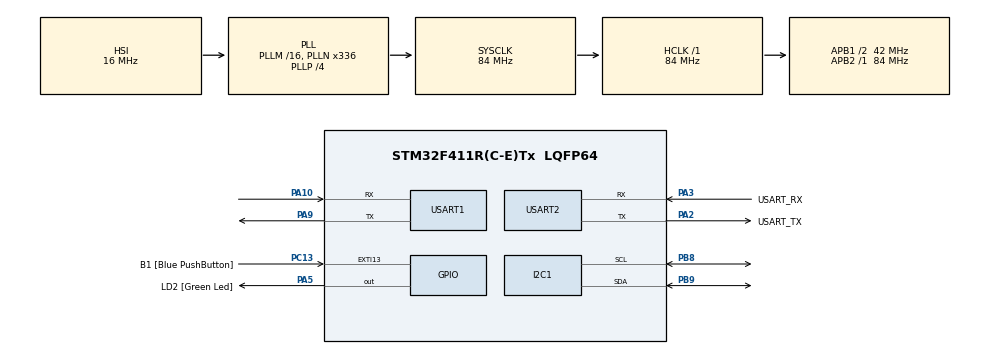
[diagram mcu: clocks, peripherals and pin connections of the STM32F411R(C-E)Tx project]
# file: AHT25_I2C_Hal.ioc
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Mcu.Family=STM32F4
Mcu.Name=STM32F411R(C-E)Tx
Mcu.Package=LQFP64
NVIC.I2C1_ER_IRQn=true\:0\:0\:false\:false\:true\:true\:true\:true
NVIC.I2C1_EV_IRQn=true\:0\:0\:false\:false\:true\:true\:true\:true
NVIC.PriorityGroup=NVIC_PRIORITYGROUP_0
PA10.Mode=Asynchronous
PA10.Signal=USART1_RX
PA13.GPIO_Label=TMS
PA13.Mode=Serial_Wire
PA13.Signal=SYS_JTMS-SWDIO
PA14.GPIO_Label=TCK
PA14.Mode=Serial_Wire
PA14.Signal=SYS_JTCK-SWCLK
PA2.GPIO_Label=USART_TX
PA2.Mode=Asynchronous
PA2.Signal=USART2_TX
PA3.GPIO_Label=USART_RX
PA3.Mode=Asynchronous
PA3.Signal=USART2_RX
PA5.GPIO_Label=LD2 [Green Led]
PA5.Signal=GPIO_Output
PA9.Mode=Asynchronous
PA9.Signal=USART1_TX
PB3.GPIO_Label=SWO
PB3.Signal=SYS_JTDO-SWO
PB8.Mode=I2C
PB8.Signal=I2C1_SCL
PB9.Mode=I2C
PB9.Signal=I2C1_SDA
PC13-ANTI_TAMP.GPIO_Label=B1 [Blue PushButton]
PC13-ANTI_TAMP.GPIO_ModeDefaultEXTI=GPIO_MODE_IT_FALLING
PC13-ANTI_TAMP.Signal=GPXTI13
PC14-OSC32_IN.Mode=LSE-External-Oscillator
PC14-OSC32_IN.Signal=RCC_OSC32_IN
PC15-OSC32_OUT.Mode=LSE-External-Oscillator
PC15-OSC32_OUT.Signal=RCC_OSC32_OUT
PH0\ -\ OSC_IN.Mode=HSE-External-Clock-Source
PH0\ -\ OSC_IN.Signal=RCC_OSC_IN
PH1\ -\ OSC_OUT.Mode=HSE-External-Clock-Source
PH1\ -\ OSC_OUT.Signal=RCC_OSC_OUT
ProjectManager.HeapSize=0x200
ProjectManager.StackSize=0x400
ProjectManager.TargetToolchain=STM32CubeIDE
RCC.48MHZClocksFreq_Value=84000000
RCC.AHBFreq_Value=84000000
RCC.APB1CLKDivider=RCC_HCLK_DIV2
RCC.APB1Freq_Value=42000000
RCC.APB1TimFreq_Value=84000000
RCC.APB2Freq_Value=84000000
RCC.APB2TimFreq_Value=84000000
RCC.CortexFreq_Value=84000000
RCC.FLatency-AdvancedSettings=FLASH_LATENCY_2
RCC.HCLKFreq_Value=84000000
RCC.HSE_VALUE=8000000
RCC.HSI_VALUE=16000000
RCC.PLLN=336
RCC.PLLP=RCC_PLLP_DIV4
RCC.SYSCLKFreq_VALUE=84000000
RCC.SYSCLKSource=RCC_SYSCLKSOURCE_PLLCLK
RCC.VCOOutputFreq_Value=336000000
USART1.VirtualMode=VM_ASYNC
USART2.VirtualMode=VM_ASYNC
board=NUCLEO-F411RE

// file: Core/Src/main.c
/* USER CODE BEGIN Header */
/**
  ******************************************************************************
  * @file           : main.c
  * @brief          : Main program body
  ******************************************************************************
  * @attention
  *
  * Copyright (c) 2023 STMicroelectronics.
  * All rights reserved.
  *
  * This software is licensed under terms that can be found in the LICENSE file
  * in the root directory of this software component.
  * If no LICENSE file comes with this software, it is provided AS-IS.
  *
  ******************************************************************************
  */
/* USER CODE END Header */
#include "main.h"

/* USER CODE BEGIN Includes */
#include "AHT25.h"
#include"stdio.h"
#include"string.h"
/* USER CODE END Includes */

I2C_HandleTypeDef hi2c1;

UART_HandleTypeDef huart1;
UART_HandleTypeDef huart2;

/* USER CODE BEGIN PV */
char buffer[128];

/* USER CODE END PV */

void SystemClock_Config(void);
static void MX_GPIO_Init(void);
static void MX_USART2_UART_Init(void);
static void MX_I2C1_Init(void);
static void MX_USART1_UART_Init(void);

int main(void)
{

  /* MCU Configuration--------------------------------------------------------*/

  /* Reset of all peripherals, Initializes the Flash interface and the Systick. */
  HAL_Init();

  /* Configure the system clock */
  SystemClock_Config();

  /* Initialize all configured peripherals */
  MX_GPIO_Init();
  MX_USART2_UART_Init();
  MX_I2C1_Init();
  MX_USART1_UART_Init();
  /* USER CODE BEGIN 2 */

  AHT25_reset();
  HAL_Delay(100);
  AHT25_init();
  AHT25_read_data();
  sprintf (buffer,"Interfacing AHT25\r\n");
  HAL_UART_Transmit(&huart2, (uint8_t*)buffer, strlen(buffer), 1000);
  /* USER CODE END 2 */

  /* Infinite loop */
  /* USER CODE BEGIN WHILE */
  while (1)
  {

	 AHT25_read_data();

	 sprintf (buffer,"HUMIDITY:---->");
	 HAL_UART_Transmit(&huart2, (uint8_t*)buffer, strlen(buffer), 1000);
	 sprintf (buffer, "%.2f\r\n",AHT25_relative_humidity);
	 HAL_UART_Transmit(&huart2, buffer , 8, 1000);
	 HAL_Delay(1000);

	 sprintf (buffer,"TEMPERATURE:---->");
	 HAL_UART_Transmit(&huart2, (uint8_t*)buffer, strlen(buffer), 1000);
	 sprintf (buffer, "%.2f\r\n",AHT25_temperature);
	 HAL_UART_Transmit(&huart2, buffer , 8, 1000);
	 HAL_Delay(1000);
    /* USER CODE END WHILE */

  }
}

void SystemClock_Config(void)
{
  RCC_OscInitTypeDef RCC_OscInitStruct = {0};
  RCC_ClkInitTypeDef RCC_ClkInitStruct = {0};

  /** Configure the main internal regulator output voltage
  */
  __HAL_RCC_PWR_CLK_ENABLE();
  __HAL_PWR_VOLTAGESCALING_CONFIG(PWR_REGULATOR_VOLTAGE_SCALE1);

  /** Initializes the RCC Oscillators according to the specified parameters
  * in the RCC_OscInitTypeDef structure.
  */
  RCC_OscInitStruct.OscillatorType = RCC_OSCILLATORTYPE_HSI;
  RCC_OscInitStruct.HSIState = RCC_HSI_ON;
  RCC_OscInitStruct.HSICalibrationValue = RCC_HSICALIBRATION_DEFAULT;
  RCC_OscInitStruct.PLL.PLLState = RCC_PLL_ON;
  RCC_OscInitStruct.PLL.PLLSource = RCC_PLLSOURCE_HSI;
  RCC_OscInitStruct.PLL.PLLM = 16;
  RCC_OscInitStruct.PLL.PLLN = 336;
  RCC_OscInitStruct.PLL.PLLP = RCC_PLLP_DIV4;
  RCC_OscInitStruct.PLL.PLLQ = 4;
  if (HAL_RCC_OscConfig(&RCC_OscInitStruct) != HAL_OK)
  {
    Error_Handler();
  }

  /** Initializes the CPU, AHB and APB buses clocks
  */
  RCC_ClkInitStruct.ClockType = RCC_CLOCKTYPE_HCLK|RCC_CLOCKTYPE_SYSCLK
                              |RCC_CLOCKTYPE_PCLK1|RCC_CLOCKTYPE_PCLK2;
  RCC_ClkInitStruct.SYSCLKSource = RCC_SYSCLKSOURCE_PLLCLK;
  RCC_ClkInitStruct.AHBCLKDivider = RCC_SYSCLK_DIV1;
  RCC_ClkInitStruct.APB1CLKDivider = RCC_HCLK_DIV2;
  RCC_ClkInitStruct.APB2CLKDivider = RCC_HCLK_DIV1;

  if (HAL_RCC_ClockConfig(&RCC_ClkInitStruct, FLASH_LATENCY_2) != HAL_OK)
  {
    Error_Handler();
  }
}

static void MX_I2C1_Init(void)
{

  hi2c1.Instance = I2C1;
  hi2c1.Init.ClockSpeed = 100000;
  hi2c1.Init.DutyCycle = I2C_DUTYCYCLE_2;
  hi2c1.Init.OwnAddress1 = 0;
  hi2c1.Init.AddressingMode = I2C_ADDRESSINGMODE_7BIT;
  hi2c1.Init.DualAddressMode = I2C_DUALADDRESS_DISABLE;
  hi2c1.Init.OwnAddress2 = 0;
  hi2c1.Init.GeneralCallMode = I2C_GENERALCALL_DISABLE;
  hi2c1.Init.NoStretchMode = I2C_NOSTRETCH_DISABLE;
  if (HAL_I2C_Init(&hi2c1) != HAL_OK)
  {
    Error_Handler();
  }

}

static void MX_USART1_UART_Init(void)
{

  huart1.Instance = USART1;
  huart1.Init.BaudRate = 115200;
  huart1.Init.WordLength = UART_WORDLENGTH_8B;
  huart1.Init.StopBits = UART_STOPBITS_1;
  huart1.Init.Parity = UART_PARITY_NONE;
  huart1.Init.Mode = UART_MODE_TX_RX;
  huart1.Init.HwFlowCtl = UART_HWCONTROL_NONE;
  huart1.Init.OverSampling = UART_OVERSAMPLING_16;
  if (HAL_UART_Init(&huart1) != HAL_OK)
  {
    Error_Handler();
  }

}

static void MX_USART2_UART_Init(void)
{

  huart2.Instance = USART2;
  huart2.Init.BaudRate = 115200;
  huart2.Init.WordLength = UART_WORDLENGTH_8B;
  huart2.Init.StopBits = UART_STOPBITS_1;
  huart2.Init.Parity = UART_PARITY_NONE;
  huart2.Init.Mode = UART_MODE_TX_RX;
  huart2.Init.HwFlowCtl = UART_HWCONTROL_NONE;
  huart2.Init.OverSampling = UART_OVERSAMPLING_16;
  if (HAL_UART_Init(&huart2) != HAL_OK)
  {
    Error_Handler();
  }

}

static void MX_GPIO_Init(void)
{
  GPIO_InitTypeDef GPIO_InitStruct = {0};

  /* GPIO Ports Clock Enable */
  __HAL_RCC_GPIOC_CLK_ENABLE();
  __HAL_RCC_GPIOH_CLK_ENABLE();
  __HAL_RCC_GPIOA_CLK_ENABLE();
  __HAL_RCC_GPIOB_CLK_ENABLE();

  /*Configure GPIO pin Output Level */
  HAL_GPIO_WritePin(LD2_GPIO_Port, LD2_Pin, GPIO_PIN_RESET);

  /*Configure GPIO pin : B1_Pin */
  GPIO_InitStruct.Pin = B1_Pin;
  GPIO_InitStruct.Mode = GPIO_MODE_IT_FALLING;
  GPIO_InitStruct.Pull = GPIO_NOPULL;
  HAL_GPIO_Init(B1_GPIO_Port, &GPIO_InitStruct);

  /*Configure GPIO pin : LD2_Pin */
  GPIO_InitStruct.Pin = LD2_Pin;
  GPIO_InitStruct.Mode = GPIO_MODE_OUTPUT_PP;
  GPIO_InitStruct.Pull = GPIO_NOPULL;
  GPIO_InitStruct.Speed = GPIO_SPEED_FREQ_LOW;
  HAL_GPIO_Init(LD2_GPIO_Port, &GPIO_InitStruct);

}

void Error_Handler(void)
{
  __disable_irq();
  while (1)
  {
  }
}
